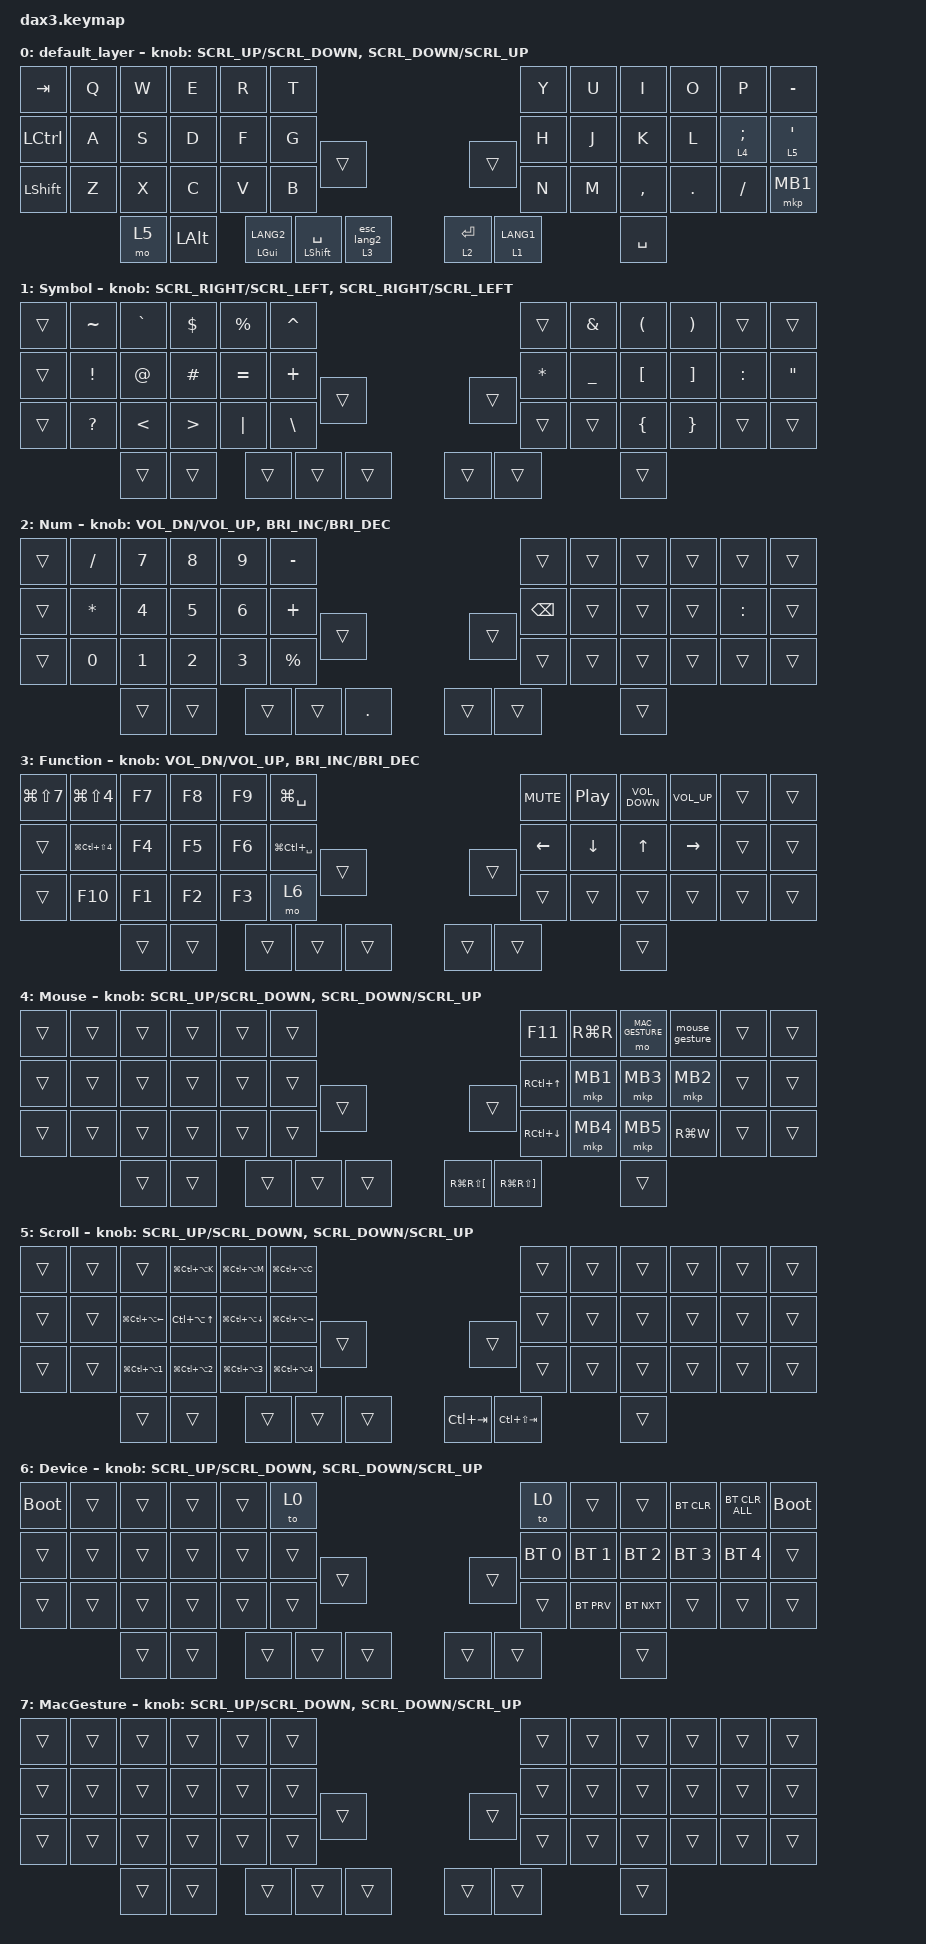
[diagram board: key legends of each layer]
#define ZMK_POINTING_DEFAULT_SCRL_VAL 120

#include <behaviors.dtsi>
#include <dt-bindings/zmk/bt.h>
#include <dt-bindings/zmk/keys.h>
#include <dt-bindings/zmk/pointing.h>
#include <mouse-gesture.dtsi>

#define MOUSE 4
#define SCROLL 5
#define NUM 6
#define MAC_GESTURE 7

&zip_mouse_gesture {
    stroke-size = <300>;
    enable-eager-mode;
    suppress-movement;
    idle-timeout-ms = <150>;
    gesture-cooldown-ms = <200>;

    g_back {
        pattern = <GESTURE_LEFT>;
        bindings = <&kp LG(LEFT_BRACKET)>;
    };

    g_fwd {
        pattern = <GESTURE_RIGHT>;
        bindings = <&kp LG(RIGHT_BRACKET)>;
    };

    g_top {
        pattern = <GESTURE_UP>;
        bindings = <&kp LG(UP_ARROW)>;
    };

    g_bottom {
        pattern = <GESTURE_DOWN>;
        bindings = <&kp LG(DOWN_ARROW)>;
    };
};

/ {
    zip_mouse_gesture_mac: zip_mouse_gesture_mac {
        compatible = "zmk,input-processor-mouse-gesture";
        #input-processor-cells = <0>;
        stroke-size = <300>;
        enable-eager-mode;
        always-active;
        idle-timeout-ms = <150>;
        gesture-cooldown-ms = <200>;

        mg_desktop {
            pattern = <GESTURE_UP>;
            bindings = <&kp F11>;
        };

        mg_mission_control {
            pattern = <GESTURE_RIGHT>;
            bindings = <&kp RC(UP_ARROW)>;
        };

        mg_app_expose {
            pattern = <GESTURE_DOWN>;
            bindings = <&kp RC(DOWN)>;
        };

        mg_spotlight {
            pattern = <GESTURE_LEFT>;
            bindings = <&kp LG(SPACE)>;
        };
    };
};

&mt {
    quick-tap-ms = <0>;
    tapping-term-ms = <160>;
    flavor = "balanced";
};

&lt {
    flavor = "balanced";
    tapping-term-ms = <160>;
    quick-tap-ms = <0>;
};

/ {
    combos {
        compatible = "zmk,combos";

        to_device {
            bindings = <&mo 6>;
            key-positions = <0 29>;
            layers = <0>;
        };

        kl_scroll {
            bindings = <&mo 5>;
            key-positions = <20 21>;
            layers = <0>;
        };

        to_device_left {
            bindings = <&to 6>;
            key-positions = <0 12 24>;
            layers = <0>;
        };

        to_device_right {
            bindings = <&to 6>;
            key-positions = <11 23 37>;
            layers = <0>;
        };
    };

    macros {
        esc_lang2: esc_lang2 {
            compatible = "zmk,behavior-macro";
            #binding-cells = <0>;
            bindings = <&macro_tap>, <&kp ESCAPE &kp LANG2>;
        };
    };

    behaviors {
        esc_lang2_with_layer: esc_lang2_with_layer {
            compatible = "zmk,behavior-hold-tap";
            bindings = <&mo>, <&esc_lang2>;
            #binding-cells = <2>;
            tapping-term-ms = <160>;
            flavor = "balanced";
        };

        enc_scroll: encoder_scroll {
            compatible = "zmk,behavior-sensor-rotate-var";
            bindings = <&msc>, <&msc>;
            #sensor-binding-cells = <2>;
            tap-ms = <20>;
        };
    };

    keymap {
        compatible = "zmk,keymap";

        default_layer {
            bindings = <
&kp TAB          &kp Q   &kp W   &kp E          &kp R                &kp T                                                                            &kp Y         &kp U   &kp I       &kp O       &kp P             &kp MINUS
&kp LCTRL        &kp A   &kp S   &kp D          &kp F                &kp G                                                                            &kp H         &kp J   &kp K       &kp L       &lt 4 SEMICOLON   &lt 5 SINGLE_QUOTE
&kp LEFT_SHIFT   &kp Z   &kp X   &kp C          &kp V                &kp B                  &trans                                      &trans        &kp N         &kp M   &kp COMMA   &kp DOT     &kp SLASH         &mkp MB1
                         &mo 5   &kp LEFT_ALT   &mt LEFT_GUI LANG2   &mt LEFT_SHIFT SPACE   &esc_lang2_with_layer 3 0                   &lt 2 ENTER   &lt 1 LANG1                       &kp SPACE
            >;

            sensor-bindings = <&enc_scroll SCRL_UP SCRL_DOWN>, <&enc_scroll SCRL_DOWN SCRL_UP>;
        };

        Symbol {
            bindings = <
&trans   &kp TILDE         &kp GRAVE       &kp DOLLAR         &kp PERCENT   &kp CARET                                         &trans      &kp AMPERSAND    &kp LEFT_PARENTHESIS   &kp RIGHT_PARENTHESIS   &trans      &trans
&trans   &kp EXCLAMATION   &kp AT_SIGN     &kp HASH           &kp EQUAL     &kp PLUS                                          &kp ASTRK   &kp UNDERSCORE   &kp LEFT_BRACKET       &kp RIGHT_BRACKET       &kp COLON   &kp DOUBLE_QUOTES
&trans   &kp QUESTION      &kp LESS_THAN   &kp GREATER_THAN   &kp PIPE      &kp BACKSLASH   &trans                   &trans   &trans      &trans           &kp LEFT_BRACE         &kp RIGHT_BRACE         &trans      &trans
                           &trans          &trans             &trans        &trans          &trans                   &trans   &trans                                              &trans
            >;

            sensor-bindings = <&enc_scroll SCRL_RIGHT SCRL_LEFT>, <&enc_scroll SCRL_RIGHT SCRL_LEFT>;
        };

        Num {
            bindings = <
&trans   &kp SLASH      &kp N7         &kp N8         &kp N9         &kp MINUS                                           &trans          &trans   &trans   &trans   &trans      &trans
&trans   &kp ASTERISK   &kp NUMBER_4   &kp N5         &kp NUMBER_6   &kp PLUS                                            &kp BACKSPACE   &trans   &trans   &trans   &kp COLON   &trans
&trans   &kp N0         &kp NUMBER_1   &kp NUMBER_2   &kp NUMBER_3   &kp PERCENT   &trans                       &trans   &trans          &trans   &trans   &trans   &trans      &trans
                        &trans         &trans         &trans         &trans        &kp PERIOD                   &trans   &trans                            &trans
            >;

            sensor-bindings = <&inc_dec_kp C_VOL_DN C_VOL_UP>, <&inc_dec_kp C_BRI_INC C_BRI_DEC>;
        };

        Function {
            bindings = <
&kp LG(LS(N7))   &kp LG(LS(NUMBER_4))       &kp F7   &kp F8   &kp F9   &kp LG(SPACE)                                         &kp C_MUTE   &kp C_PP   &kp C_VOLUME_DOWN   &kp C_VOLUME_UP   &trans   &trans
&trans           &kp LG(LC(LS(NUMBER_4)))   &kp F4   &kp F5   &kp F6   &kp LG(LC(SPACE))                                     &kp LEFT     &kp DOWN   &kp UP_ARROW        &kp RIGHT         &trans   &trans
&trans           &kp F10                    &kp F1   &kp F2   &kp F3   &mo 6               &trans                   &trans   &trans       &trans     &trans              &trans            &trans   &trans
                                            &trans   &trans   &trans   &trans              &trans                   &trans   &trans                                      &trans
            >;

            sensor-bindings = <&inc_dec_kp C_VOL_DN C_VOL_UP>, <&inc_dec_kp C_BRI_INC C_BRI_DEC>;
        };

        Mouse {
            bindings = <
&trans   &trans   &trans   &trans   &trans   &trans                                                       &kp F11                     &kp RG(R)   &mo MAC_GESTURE   &mouse_gesture   &trans   &trans
&trans   &trans   &trans   &trans   &trans   &trans                                                       &kp RC(UP_ARROW)            &mkp MB1    &mkp MB3          &mkp MB2         &trans   &trans
&trans   &trans   &trans   &trans   &trans   &trans   &trans                   &trans                     &kp RC(DOWN)                &mkp MB4    &mkp MB5          &kp RG(W)        &trans   &trans
                  &trans   &trans   &trans   &trans   &trans                   &kp RG(RS(LEFT_BRACKET))   &kp RG(RS(RIGHT_BRACKET))                                 &trans
            >;

            sensor-bindings = <&enc_scroll SCRL_UP SCRL_DOWN>, <&enc_scroll SCRL_DOWN SCRL_UP>;
        };

        Scroll {
            bindings = <
&trans   &trans   &trans                     &kp LG(LC(LA(K)))          &kp LG(LC(LA(M)))          &kp LG(LC(LA(C)))                                                 &trans            &trans   &trans   &trans   &trans   &trans
&trans   &trans   &kp LG(LC(LA(LEFT)))       &kp LC(LA(UP_ARROW))       &kp LG(LC(LA(DOWN)))       &kp LG(LC(LA(RIGHT)))                                             &trans            &trans   &trans   &trans   &trans   &trans
&trans   &trans   &kp LG(LC(LA(NUMBER_1)))   &kp LG(LC(LA(NUMBER_2)))   &kp LG(LC(LA(NUMBER_3)))   &kp LG(LC(LA(NUMBER_4)))   &trans                   &trans        &trans            &trans   &trans   &trans   &trans   &trans
                  &trans                     &trans                     &trans                     &trans                     &trans                   &kp LC(TAB)   &kp LC(LS(TAB))                     &trans
            >;

            sensor-bindings = <&enc_scroll SCRL_UP SCRL_DOWN>, <&enc_scroll SCRL_DOWN SCRL_UP>;
        };

        Device {
            bindings = <
&bootloader   &trans   &trans   &trans   &trans   &to 0                                      &to 0          &trans         &trans         &bt BT_CLR     &bt BT_CLR_ALL   &bootloader
&trans        &trans   &trans   &trans   &trans   &trans                                     &bt BT_SEL 0   &bt BT_SEL 1   &bt BT_SEL 2   &bt BT_SEL 3   &bt BT_SEL 4     &trans
&trans        &trans   &trans   &trans   &trans   &trans   &trans                   &trans   &trans         &bt BT_PRV     &bt BT_NXT     &trans         &trans           &trans
                       &trans   &trans   &trans   &trans   &trans                   &trans   &trans                                       &trans
            >;

            sensor-bindings = <&enc_scroll SCRL_UP SCRL_DOWN>, <&enc_scroll SCRL_DOWN SCRL_UP>;
        };

        MacGesture {
            bindings = <
&trans   &trans   &trans   &trans   &trans   &trans                                     &trans   &trans   &trans   &trans   &trans   &trans
&trans   &trans   &trans   &trans   &trans   &trans                                     &trans   &trans   &trans   &trans   &trans   &trans
&trans   &trans   &trans   &trans   &trans   &trans   &trans                   &trans   &trans   &trans   &trans   &trans   &trans   &trans
                  &trans   &trans   &trans   &trans   &trans                   &trans   &trans                     &trans
            >;

            sensor-bindings = <&enc_scroll SCRL_UP SCRL_DOWN>, <&enc_scroll SCRL_DOWN SCRL_UP>;
        };
    };
};
